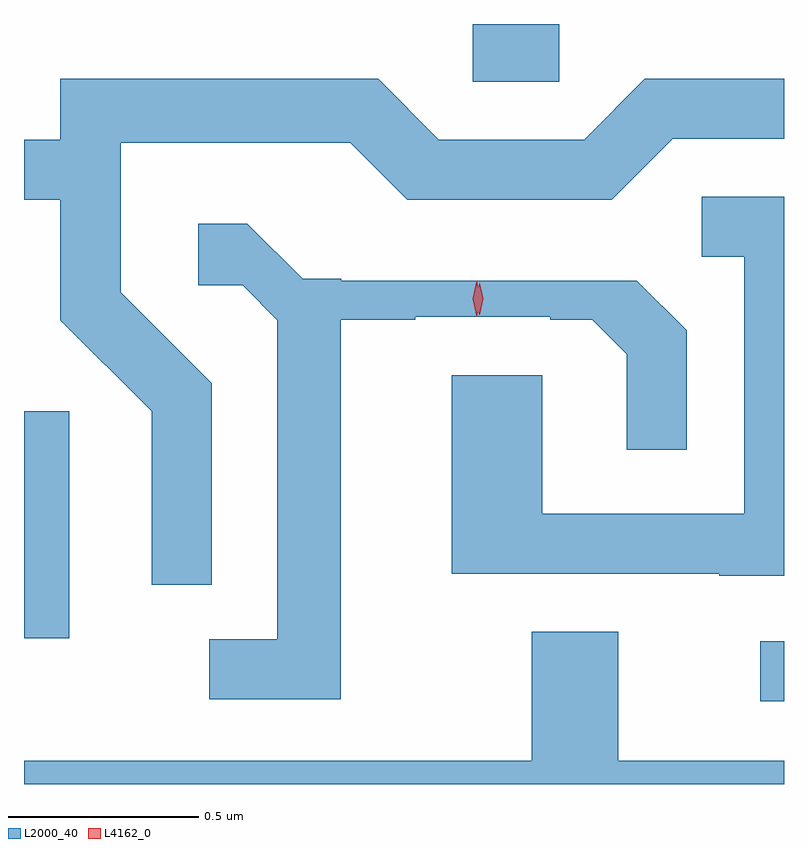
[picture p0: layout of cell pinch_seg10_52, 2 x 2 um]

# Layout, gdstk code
import gdstk
lib = gdstk.Library(unit=1e-6, precision=1e-09)
def R(c, l, rs):  # rectangles x0, y0, x1, y1
    for r in rs: c.add(gdstk.rectangle(r[:2], r[2:], *l))
def P(c, l, *ps):  # polygons
    for p in ps: c.add(gdstk.Polygon(p, *l))
L2000_40 = (2000, 40)
L4162_0 = (4162, 0)

pinch_seg10_52 = lib.new_cell('pinch_seg10_52')
R(pinch_seg10_52, L2000_40, [(594.003,2187.601,594.065,2187.759), (592.065,2187.766,592.184,2188.364), (593.246,2189.231,593.474,2189.383)])
P(pinch_seg10_52, L2000_40, [(592.559,2188.437),(592.319,2188.677),(592.319,2189.071),(592.924,2189.071),(593.074,2188.921),(593.612,2188.921),(593.772,2189.081),(594.065,2189.081),(594.065,2189.239),(593.699,2189.239),(593.539,2189.079),(593.157,2189.079),(592.997,2189.239),(592.161,2189.239),(592.161,2189.079),(592.065,2189.079),(592.065,2188.921),(592.161,2188.921),(592.161,2188.604),(592.401,2188.364),(592.401,2187.908),(592.559,2187.908)],
  [(594.065,2188.929),(593.848,2188.929),(593.848,2188.771),(593.961,2188.771),(593.961,2188.094),(593.429,2188.094),(593.429,2188.459),(593.191,2188.459),(593.191,2187.936),(593.895,2187.936),(593.895,2187.931),(594.065,2187.931)],
  [(592.899,2188.605),(593.095,2188.605),(593.095,2188.612),(593.45,2188.612),(593.45,2188.605),(593.561,2188.605),(593.651,2188.514),(593.651,2188.263),(593.809,2188.263),(593.809,2188.577),(593.678,2188.708),(592.9,2188.708),(592.9,2188.713),(592.798,2188.713),(592.653,2188.858),(592.523,2188.858),(592.523,2188.695),(592.64,2188.695),(592.731,2188.604),(592.731,2187.764),(592.553,2187.764),(592.553,2187.606),(592.899,2187.606)],
  [(594.065,2187.444),(593.629,2187.444),(593.629,2187.784),(593.401,2187.784),(593.401,2187.444),(592.065,2187.444),(592.065,2187.383),(594.065,2187.383)])
P(pinch_seg10_52, L4162_0, [(593.263,2188.618),(593.254,2188.66),(593.264,2188.701),(593.264,2188.702),(593.264,2188.701),(593.274,2188.66),(593.264,2188.618),(593.264,2188.618)],
  [(593.256,2188.612),(593.256,2188.612),(593.246,2188.66),(593.256,2188.708),(593.256,2188.708),(593.257,2188.708),(593.266,2188.66),(593.257,2188.612)])

lib.write_gds('pinch_seg10_52.gds')
